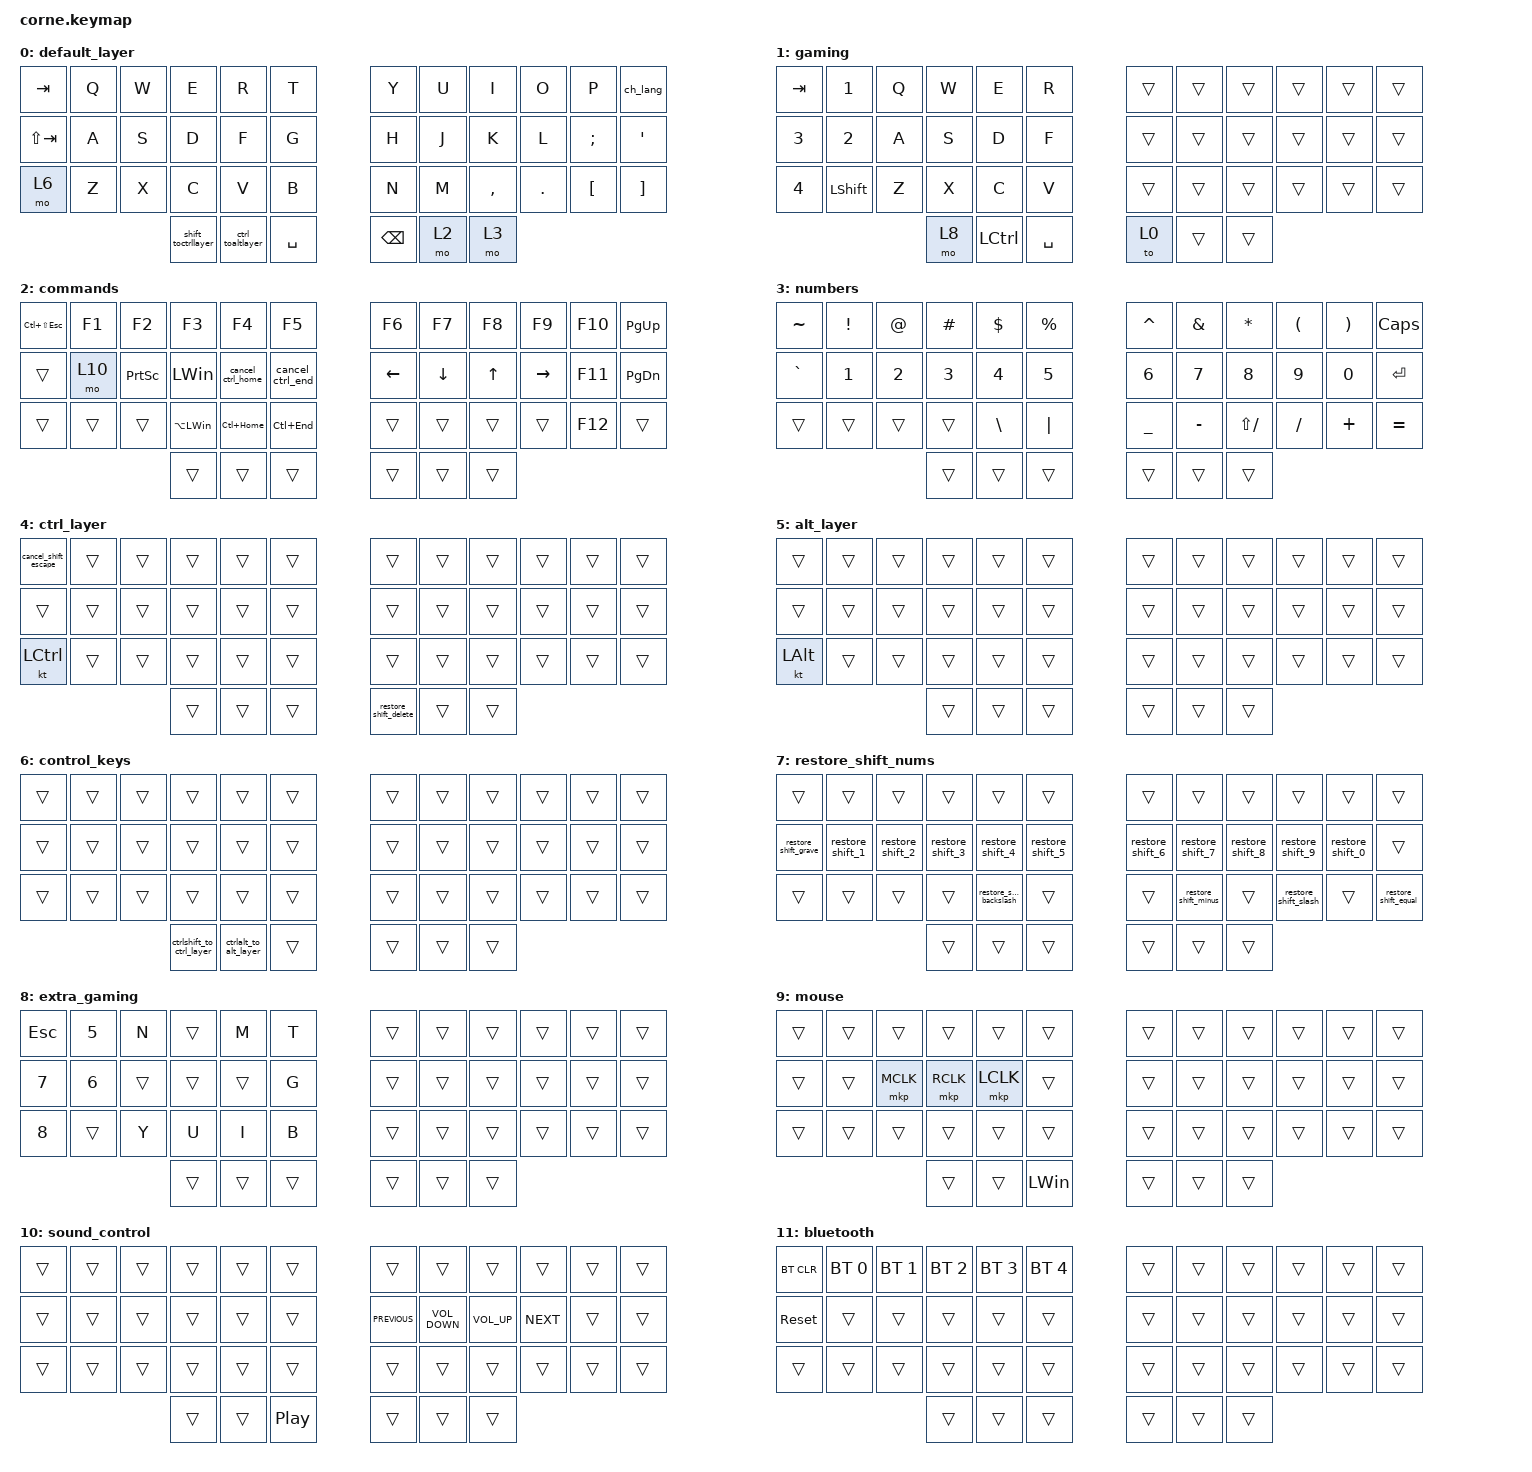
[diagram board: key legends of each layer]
/*
 * Copyright (c) 2020 The ZMK Contributors
 *
 * SPDX-License-Identifier: MIT
 */

#include <behaviors.dtsi>
#include <dt-bindings/zmk/bt.h>
#include <dt-bindings/zmk/keys.h>
#include <dt-bindings/zmk/pointing.h>

&lt {
    flavor = "hold-preferred";
    tapping-term-ms = <100>;
};

/ {
    behaviors {
        tp: tap_preferred {
            compatible = "zmk,behavior-hold-tap";
            label = "TAP_PREFERRED";
            #binding-cells = <2>;
            tapping-term-ms = <200>;
            quick-tap-ms = <0>;
            flavor = "tap-preferred";
            bindings = <&kp>, <&kp>;
        };

        lt_tp: lt_tp {
            compatible = "zmk,behavior-hold-tap";
            label = "LT_TP";
            bindings = <&mo>, <&kp>;

            #binding-cells = <2>;
            tapping-term-ms = <300>;
            flavor = "tap-preferred";
        };

        z_mouse: z_mouse {
            compatible = "zmk,behavior-tap-dance";
            label = "Z_MOUSE";
            #binding-cells = <0>;
            bindings = <&kp Z>, <&mo 9>;

            tapping-term-ms = <350>;
        };

        shift_caps: shift_caps {
            compatible = "zmk,behavior-tap-dance";
            label = "SHIFT_CAPS";
            #binding-cells = <0>;
            bindings = <&shift_toctrllayer>, <&kp CAPSLOCK>;

            tapping-term-ms = <350>;
        };
    };

    combos {
        compatible = "zmk,combos";

        go_assignment {
            bindings = <&go_assignment>;
            key-positions = <13 17 9>;
        };

        code_block {
            bindings = <&code_block>;
            key-positions = <5 7 6>;
        };

        toggle_gaming {
            bindings = <&tog 1>;
            key-positions = <36 37 38>;
        };

        sticky_bluetooth {
            bindings = <&sl 11>;
            key-positions = <41 40 39>;
        };

        space_back {
            bindings = <&space_back>;
            key-positions = <38 39>;
        };

        go_error {
            bindings = <&go_error>;
            key-positions = <17 3 9>;
        };

        mouse {
            bindings = <&mo 9>;
            key-positions = <13 38>;
            slow-release;
            layers = <0>;
        };

        alt {
            bindings = <&kp LEFT_ALT>;
            key-positions = <38 16>;
            slow-release;
            layers = <0 2 3>;
        };

        backfrom_gaming {
            bindings = <&to 1>;
            key-positions = <14 15 16>;
            layers = <0>;
        };

        back_from_game {
            bindings = <&to 0>;
            key-positions = <24 36>;
            layers = <1>;
        };
    };

    macros {
        code_block: code_block {
            compatible = "zmk,behavior-macro";
            #binding-cells = <0>;
            bindings =
                <&macro_tap>,
                <&kp GRAVE &kp GRAVE &kp GRAVE &kp LS(ENTER) &kp LS(ENTER) &kp GRAVE &kp GRAVE &kp GRAVE &kp UP_ARROW>;

            label = "CODE_BLOCK";
            wait-ms = <5>;
        };

        go_assignment: go_assignment {
            compatible = "zmk,behavior-macro";
            #binding-cells = <0>;
            bindings = <&kp SPACE &kp COLON &kp EQUAL &kp SPACE>;
            label = "GO_ASSIGNMENT";
        };

        ch_lang: change_lang {
            compatible = "zmk,behavior-macro";
            #binding-cells = <0>;
            bindings = <&kp LS(LEFT_ALT) &kp RCTRL>;
            label = "CHANGE_LANG";
        };

        shift_toctrllayer: shift_toctrllayer {
            compatible = "zmk,behavior-macro";
            #binding-cells = <0>;
            bindings =
                <&macro_press>,
                <&kp LEFT_SHIFT &mo 4>,
                <&macro_pause_for_release>,
                <&macro_release>,
                <&kp LEFT_SHIFT &mo 4 &kp LCTRL &kp LEFT_ALT>;

            label = "SHIFT_TOCTRLLAYER";
            wait-ms = <0>;
        };

        ctrl_toaltlayer: ctrl_toaltlayer {
            compatible = "zmk,behavior-macro";
            #binding-cells = <0>;
            bindings =
                <&macro_press>,
                <&kp LCTRL &mo 5>,
                <&macro_pause_for_release>,
                <&macro_release>,
                <&kp LCTRL &mo 5 &kp LEFT_ALT>;

            label = "CTRL_TOALTLAYER";
            wait-ms = <0>;
        };

        space_back: space_back {
            compatible = "zmk,behavior-macro";
            #binding-cells = <0>;
            bindings = <&kp LS(ENTER) &kp UP_ARROW>;
            label = "SPACE_BACK";
        };

        go_error: go_error {
            compatible = "zmk,behavior-macro";
            #binding-cells = <0>;
            bindings = <&none &kp I &kp F &kp SPACE &kp E &kp R &kp R &kp SPACE &kp EXCL &kp EQUAL &kp SPACE &kp N &kp I &kp L &kp SPACE &kp LEFT_BRACE &kp RET>;
            label = "GO_ERROR";
        };

        cancel_shift_escape: cancel_shift_escape {
            compatible = "zmk,behavior-macro";
            #binding-cells = <0>;
            bindings =
                <&macro_release>,
                <&kp LEFT_SHIFT>,
                <&macro_tap>,
                <&kp ESCAPE>,
                <&macro_press>,
                <&kp LEFT_SHIFT>;

            label = "CANCEL_SHIFT_ESCAPE";
        };

        cancel_ctrl_home: cancel_ctrl_home {
            compatible = "zmk,behavior-macro";
            #binding-cells = <0>;
            bindings = <&macro_release>, <&kp LCTRL>, <&macro_tap>, <&kp HOME>;

            label = "CANCEL_CTRL_HOME";
        };

        cancel_ctrl_end: cancel_ctrl_end {
            compatible = "zmk,behavior-macro";
            #binding-cells = <0>;
            bindings = <&macro_release>, <&kp LCTRL>, <&macro_tap>, <&kp END>;

            label = "CANCEL_CTRL_END";
        };

        cancel_shift_del: cancel_shift_del {
            compatible = "zmk,behavior-macro";
            #binding-cells = <0>;
            bindings =
                <&macro_release>,
                <&kp LEFT_SHIFT>,
                <&macro_press>,
                <&kp DELETE>,
                <&macro_pause_for_release>,
                <&macro_release>,
                <&kp DEL>;

            label = "CANCEL_SHIFT_DEL";
        };

        restore_shift_1: restore_shift_1 {
            compatible = "zmk,behavior-macro";
            #binding-cells = <0>;
            bindings =
                <&macro_release>,
                <&kp LEFT_SHIFT>,
                <&macro_tap>,
                <&kp NUMBER_1>,
                <&macro_press>,
                <&kp LEFT_SHIFT>;

            label = "RESTORE_SHIFT_1";
        };

        restore_shift_2: restore_shift_2 {
            compatible = "zmk,behavior-macro";
            #binding-cells = <0>;
            bindings =
                <&macro_release>,
                <&kp LEFT_SHIFT>,
                <&macro_tap>,
                <&kp NUMBER_2>,
                <&macro_press>,
                <&kp LEFT_SHIFT>;

            label = "RESTORE_SHIFT_2";
        };

        restore_shift_3: restore_shift_3 {
            compatible = "zmk,behavior-macro";
            #binding-cells = <0>;
            bindings =
                <&macro_release>,
                <&kp LEFT_SHIFT>,
                <&macro_tap>,
                <&kp NUMBER_3>,
                <&macro_press>,
                <&kp LEFT_SHIFT>;

            label = "RESTORE_SHIFT_3";
        };

        restore_shift_4: restore_shift_4 {
            compatible = "zmk,behavior-macro";
            #binding-cells = <0>;
            bindings =
                <&macro_release>,
                <&kp LEFT_SHIFT>,
                <&macro_tap>,
                <&kp NUMBER_4>,
                <&macro_press>,
                <&kp LEFT_SHIFT>;

            label = "RESTORE_SHIFT_4";
        };

        restore_shift_5: restore_shift_5 {
            compatible = "zmk,behavior-macro";
            #binding-cells = <0>;
            bindings =
                <&macro_release>,
                <&kp LEFT_SHIFT>,
                <&macro_tap>,
                <&kp NUMBER_5>,
                <&macro_press>,
                <&kp LEFT_SHIFT>;

            label = "RESTORE_SHIFT_5";
        };

        restore_shift_6: restore_shift_6 {
            compatible = "zmk,behavior-macro";
            #binding-cells = <0>;
            bindings =
                <&macro_release>,
                <&kp LEFT_SHIFT>,
                <&macro_tap>,
                <&kp NUMBER_6>,
                <&macro_press>,
                <&kp LEFT_SHIFT>;

            label = "RESTORE_SHIFT_6";
        };

        restore_shift_7: restore_shift_7 {
            compatible = "zmk,behavior-macro";
            #binding-cells = <0>;
            bindings =
                <&macro_release>,
                <&kp LEFT_SHIFT>,
                <&macro_tap>,
                <&kp N7>,
                <&macro_press>,
                <&kp LEFT_SHIFT>;

            label = "RESTORE_SHIFT_7";
        };

        restore_shift_8: restore_shift_8 {
            compatible = "zmk,behavior-macro";
            #binding-cells = <0>;
            bindings =
                <&macro_release>,
                <&kp LEFT_SHIFT>,
                <&macro_tap>,
                <&kp N8>,
                <&macro_press>,
                <&kp LEFT_SHIFT>;

            label = "RESTORE_SHIFT_8";
        };

        restore_shift_9: restore_shift_9 {
            compatible = "zmk,behavior-macro";
            #binding-cells = <0>;
            bindings =
                <&macro_release>,
                <&kp LEFT_SHIFT>,
                <&macro_tap>,
                <&kp N9>,
                <&macro_press>,
                <&kp LEFT_SHIFT>;

            label = "RESTORE_SHIFT_9";
        };

        restore_shift_0: restore_shift_0 {
            compatible = "zmk,behavior-macro";
            #binding-cells = <0>;
            bindings =
                <&macro_release>,
                <&kp LEFT_SHIFT>,
                <&macro_tap>,
                <&kp N0>,
                <&macro_press>,
                <&kp LEFT_SHIFT>;

            label = "RESTORE_SHIFT_0";
        };

        restore_shift_grave: restore_shift_grave {
            compatible = "zmk,behavior-macro";
            #binding-cells = <0>;
            bindings =
                <&macro_release>,
                <&kp LEFT_SHIFT>,
                <&macro_tap>,
                <&kp GRAVE>,
                <&macro_press>,
                <&kp LEFT_SHIFT>;

            label = "RESTORE_SHIFT_GRAVE";
        };

        restore_shift_slash: restore_shift_slash {
            compatible = "zmk,behavior-macro";
            #binding-cells = <0>;
            bindings =
                <&macro_release>,
                <&kp LEFT_SHIFT>,
                <&macro_tap>,
                <&kp SLASH>,
                <&macro_press>,
                <&kp LEFT_SHIFT>;

            label = "RESTORE_SHIFT_SLASH";
        };

        restore_shift_backslash: restore_shift_backslash {
            compatible = "zmk,behavior-macro";
            #binding-cells = <0>;
            bindings =
                <&macro_release>,
                <&kp LEFT_SHIFT>,
                <&macro_tap>,
                <&kp BACKSLASH>,
                <&macro_press>,
                <&kp LEFT_SHIFT>;

            label = "RESTORE_SHIFT_BACKSLASH";
        };

        restore_shift_minus: restore_shift_minus {
            compatible = "zmk,behavior-macro";
            #binding-cells = <0>;
            bindings =
                <&macro_release>,
                <&kp LEFT_SHIFT>,
                <&macro_tap>,
                <&kp MINUS>,
                <&macro_press>,
                <&kp LEFT_SHIFT>;

            label = "RESTORE_SHIFT_MINUS";
        };

        restore_shift_equal: restore_shift_equal {
            compatible = "zmk,behavior-macro";
            #binding-cells = <0>;
            bindings =
                <&macro_release>,
                <&kp LEFT_SHIFT>,
                <&macro_tap>,
                <&kp EQUAL>,
                <&macro_press>,
                <&kp LEFT_SHIFT>;

            label = "RESTORE_SHIFT_EQUAL";
        };

        ctrlshift_to_ctrl_layer: ctrlshift_to_ctrl_layer {
            compatible = "zmk,behavior-macro";
            #binding-cells = <0>;
            bindings =
                <&macro_press>,
                <&kp LEFT_CONTROL &kp LEFT_SHIFT &mo 4>,
                <&macro_pause_for_release>,
                <&macro_release>,
                <&kp LEFT_SHIFT &mo 4 &kp LCTRL &kp LEFT_ALT>;

            label = "CTRLSHIFT_TO_CTRL_LAYER";
            wait-ms = <0>;
        };

        ctrlalt_to_alt_layer: ctrlalt_to_alt_layer {
            compatible = "zmk,behavior-macro";
            #binding-cells = <0>;
            bindings =
                <&macro_press>,
                <&kp LCTRL &kp LEFT_ALT &mo 5>,
                <&macro_pause_for_release>,
                <&macro_release>,
                <&kp LCTRL &mo 5 &kp LEFT_ALT>;

            label = "CTRLALT_TO_ALT_LAYER";
            wait-ms = <0>;
        };

        restore_shift_delete: restore_shift_delete {
            compatible = "zmk,behavior-macro";
            #binding-cells = <0>;
            bindings =
                <&macro_release>,
                <&kp LEFT_SHIFT>,
                <&macro_tap>,
                <&kp DELETE>,
                <&macro_press>,
                <&kp LEFT_SHIFT>;

            label = "RESTORE_SHIFT_DELETE";
        };
    };

    keymap {
        compatible = "zmk,keymap";

        default_layer {
            // -----------------------------------------------------------------------------------------
            // | TAB  |  Q  |  W  |  E  |  R  |    T    |   |  Y  |  U   |  I  |  O  |  P  | ESC |
            // | CTRL |  A  |  S  |  D  |  F  |    G    |   |  H  |  J   |  K  |  L  |  ;  |  LWR/'   |
            // | SHFT |  Z  |  X  |  C  |  V  |    B    |   |  N  |  M   |  ,  |  .  |  /  | SHFT |
            //                    | GUI | LWR | ALT/ENT |   | HYPER/SPC | BKSP  | RSE |

            bindings = <
&kp TAB      &kp Q  &kp W  &kp E               &kp R             &kp T        &kp Y          &kp U  &kp I      &kp O    &kp P             &ch_lang
&kp LS(TAB)  &kp A  &kp S  &kp D               &kp F             &kp G        &kp H          &kp J  &kp K      &kp L    &kp SEMI          &kp SINGLE_QUOTE
&mo 6        &kp Z  &kp X  &kp C               &kp V             &kp B        &kp N          &kp M  &kp COMMA  &kp DOT  &kp LEFT_BRACKET  &kp RIGHT_BRACKET
                           &shift_toctrllayer  &ctrl_toaltlayer  &kp SPACE    &kp BACKSPACE  &mo 2  &mo 3
            >;
        };

        gaming {
            bindings = <
&kp TAB       &kp NUMBER_1    &kp Q  &kp W  &kp E      &kp R        &trans  &trans  &trans  &trans  &trans  &trans
&kp NUMBER_3  &kp NUMBER_2    &kp A  &kp S  &kp D      &kp F        &trans  &trans  &trans  &trans  &trans  &trans
&kp NUMBER_4  &kp LEFT_SHIFT  &kp Z  &kp X  &kp C      &kp V        &trans  &trans  &trans  &trans  &trans  &trans
                                     &mo 8  &kp LCTRL  &kp SPACE    &to 0   &trans  &trans
            >;
        };

        commands {
            // -----------------------------------------------------------------------------------------
            // |       |  F1  |  F2  |  F3  |  F4  |  F5 |            |  F6  |  F7  |  F8  |  F9  |  F10  |   |
            // |       | Prev | Next | Vol - | Vol + | Play/Pause |   |      | LFT | DWN |  UP | RGT |     |     |
            // | BTCLR | BT1 | BT2 | BT3 | BT4 | BT5 |   |            |     |     |     |     |     |     |
            //                    |     |     |    |                  |     |     |     |

            bindings = <
&kp LC(LS(ESCAPE))  &kp F1  &kp F2           &kp F3            &kp F4             &kp F5              &kp F6          &kp F7          &kp F8        &kp F9           &kp F10  &kp PAGE_UP
&trans              &mo 10  &kp PRINTSCREEN  &kp LEFT_WIN      &cancel_ctrl_home  &cancel_ctrl_end    &kp LEFT_ARROW  &kp DOWN_ARROW  &kp UP_ARROW  &kp RIGHT_ARROW  &kp F11  &kp PAGE_DOWN
&trans              &trans  &trans           &kp LA(LEFT_WIN)  &kp LC(HOME)       &kp LC(END)         &trans          &trans          &trans        &trans           &kp F12  &trans
                                             &trans            &trans             &trans              &trans          &trans          &trans
            >;
        };

        numbers {
            // -----------------------------------------------------------------------------------------
            // |      |  !  |  @  |  #  |  $  |    %     |   |  ^  |  &  |  *  |  (  |  )  |   \   |
            // |      |  1  |  2  |  3  |  4  |    5     |   |  -  |  =  |  `  |  [  |  ]  |  "|"  |
            // | SHFT |  6  |  7  |  8  |  9  |    0     |   |  _  |  +  |  ~  |  {  |  }  | RSHFT |
            //                     | GUI |     | ALT/ENT |   | HYPER/SPACE | BKSP |    |

            bindings = <
&kp TILDE  &kp EXCL  &kp AT        &kp HASH  &kp DLLR       &kp PERCENT    &kp CARET     &kp AMPERSAND  &kp STAR       &kp LEFT_PARENTHESIS  &kp RIGHT_PARENTHESIS  &kp CAPSLOCK
&kp GRAVE  &kp N1    &kp NUMBER_2  &kp N3    &kp N4         &kp N5         &kp NUMBER_6  &kp NUMBER_7   &kp NUMBER_8   &kp NUMBER_9          &kp NUMBER_0           &kp ENTER
&trans     &trans    &trans        &trans    &kp BACKSLASH  &kp PIPE       &kp UNDER     &kp MINUS      &kp LS(SLASH)  &kp SLASH             &kp PLUS               &kp EQUAL
                                   &trans    &trans         &trans         &trans        &trans         &trans
            >;
        };

        ctrl_layer {
            bindings = <
&cancel_shift_escape  &trans  &trans  &trans  &trans  &trans    &trans                 &trans  &trans  &trans  &trans  &trans
&trans                &trans  &trans  &trans  &trans  &trans    &trans                 &trans  &trans  &trans  &trans  &trans
&kt LCTRL             &trans  &trans  &trans  &trans  &trans    &trans                 &trans  &trans  &trans  &trans  &trans
                                      &trans  &trans  &trans    &restore_shift_delete  &trans  &trans
            >;
        };

        alt_layer {
            bindings = <
&trans        &trans  &trans  &trans  &trans  &trans    &trans  &trans  &trans  &trans  &trans  &trans
&trans        &trans  &trans  &trans  &trans  &trans    &trans  &trans  &trans  &trans  &trans  &trans
&kt LEFT_ALT  &trans  &trans  &trans  &trans  &trans    &trans  &trans  &trans  &trans  &trans  &trans
                              &trans  &trans  &trans    &trans  &trans  &trans
            >;
        };

        control_keys {
            bindings = <
&trans  &trans  &trans  &trans                    &trans                 &trans    &trans  &trans  &trans  &trans  &trans  &trans
&trans  &trans  &trans  &trans                    &trans                 &trans    &trans  &trans  &trans  &trans  &trans  &trans
&trans  &trans  &trans  &trans                    &trans                 &trans    &trans  &trans  &trans  &trans  &trans  &trans
                        &ctrlshift_to_ctrl_layer  &ctrlalt_to_alt_layer  &trans    &trans  &trans  &trans
            >;
        };

        restore_shift_nums {
            bindings = <
&trans                &trans            &trans            &trans            &trans                    &trans              &trans            &trans                &trans            &trans                &trans            &trans
&restore_shift_grave  &restore_shift_1  &restore_shift_2  &restore_shift_3  &restore_shift_4          &restore_shift_5    &restore_shift_6  &restore_shift_7      &restore_shift_8  &restore_shift_9      &restore_shift_0  &trans
&trans                &trans            &trans            &trans            &restore_shift_backslash  &trans              &trans            &restore_shift_minus  &trans            &restore_shift_slash  &trans            &restore_shift_equal
                                                          &trans            &trans                    &trans              &trans            &trans                &trans
            >;
        };

        extra_gaming {
            bindings = <
&kp ESCAPE    &kp NUMBER_5  &kp N   &trans  &kp M   &kp T     &trans  &trans  &trans  &trans  &trans  &trans
&kp NUMBER_7  &kp NUMBER_6  &trans  &trans  &trans  &kp G     &trans  &trans  &trans  &trans  &trans  &trans
&kp NUMBER_8  &trans        &kp Y   &kp U   &kp I   &kp B     &trans  &trans  &trans  &trans  &trans  &trans
                                    &trans  &trans  &trans    &trans  &trans  &trans
            >;
        };

        mouse {
            bindings = <
&trans  &trans  &trans     &trans     &trans     &trans          &trans  &trans  &trans  &trans  &trans  &trans
&trans  &trans  &mkp MCLK  &mkp RCLK  &mkp LCLK  &trans          &trans  &trans  &trans  &trans  &trans  &trans
&trans  &trans  &trans     &trans     &trans     &trans          &trans  &trans  &trans  &trans  &trans  &trans
                           &trans     &trans     &kp LEFT_WIN    &trans  &trans  &trans
            >;
        };

        sound_control {
            bindings = <
&trans  &trans  &trans  &trans  &trans  &trans              &trans          &trans             &trans           &trans      &trans  &trans
&trans  &trans  &trans  &trans  &trans  &trans              &kp C_PREVIOUS  &kp C_VOLUME_DOWN  &kp C_VOLUME_UP  &kp C_NEXT  &trans  &trans
&trans  &trans  &trans  &trans  &trans  &trans              &trans          &trans             &trans           &trans      &trans  &trans
                        &trans  &trans  &kp C_PLAY_PAUSE    &trans          &trans             &trans
            >;
        };

        bluetooth {
            bindings = <
&bt BT_CLR  &bt BT_SEL 0  &bt BT_SEL 1  &bt BT_SEL 2  &bt BT_SEL 3  &bt BT_SEL 4    &trans  &trans  &trans  &trans  &trans  &trans
&sys_reset  &trans        &trans        &trans        &trans        &trans          &trans  &trans  &trans  &trans  &trans  &trans
&trans      &trans        &trans        &trans        &trans        &trans          &trans  &trans  &trans  &trans  &trans  &trans
                                        &trans        &trans        &trans          &trans  &trans  &trans
            >;
        };
    };

    conditional_layers {
        compatible = "zmk,conditional-layers";

        cancel_shift_nums {
            if-layers = <3 4>;
            then-layer = <7>;
        };
    };
};
